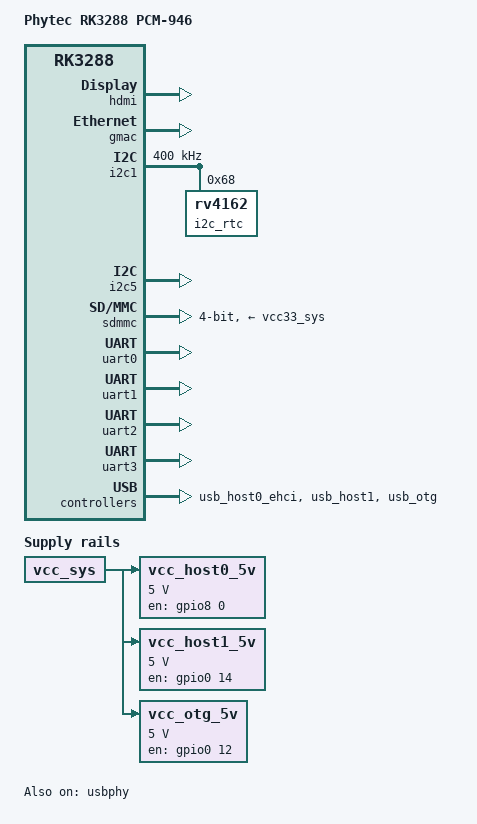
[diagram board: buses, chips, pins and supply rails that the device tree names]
/*
 * Copyright (C) 2016 PHYTEC Messtechnik GmbH
 * Author: Wadim Egorov <w.egorov@phytec.de>
 *
 * This program is free software; you can redistribute it and/or modify
 * it under the terms of the GNU General Public License version 2 as
 * published by the Free Software Foundation.
 */

/dts-v1/;

#include "rk3288-phycore-som.dtsi"

/ {
	model = "Phytec RK3288 PCM-946";
	compatible = "phytec,rk3288-pcm-946", "phytec,rk3288-phycore-som", "rockchip,rk3288";


	regulators {
		compatible = "simple-bus";

		vcc_host0_5v: usb-host0-regulator {
			compatible = "regulator-fixed";
		};

		vcc_host1_5v: usb-host1-regulator {
			compatible = "regulator-fixed";
		};

		vcc_otg_5v: usb-otg-regulator {
			compatible = "regulator-fixed";
		};
	};
};

/* Display & Video */
&hdmi {
	status = "okay";
};

/* Ethernet */
&gmac {
	status = "okay";
};

/* I2C Busses */
&pinctrl {
	rv4162 {
		i2c_rtc_int: i2c-rtc-int {
			rockchip,pins = <5 11 RK_FUNC_GPIO &pcfg_pull_up>;
		};
	};
};

&i2c1 {
	clock-frequency = <400000>;
	status = "okay";

	i2c_rtc: rtc@68 {
		compatible = "rv4162";
		reg = <0x68>;
	};
};

&i2c5 {
	status = "okay";
};

/* Misc */
&pinctrl {
	pinctrl-names = "default";
	pinctrl-0 = <&i2c_rtc_int>;

	rv4162 {
		i2c_rtc_int: i2c-rtc-int {
			rockchip,pins = <5 11 RK_FUNC_GPIO &pcfg_pull_up>;
		};
	};
};

/* MMC */
&pinctrl {
	pcfg_pull_up_drv_12ma: pcfg-pull-up-drv-12ma {
		bias-pull-up;
		drive-strength = <12>;
	};

	sdmmc {
		/*
		* Default drive strength isn't enough to achieve even
		* high-speed mode on pcm-946 board so bump up to 12ma.
		*/
		sdmmc_bus4: sdmmc-bus4 {
			rockchip,pins = <6 16 RK_FUNC_1 &pcfg_pull_up_drv_12ma>,
					<6 17 RK_FUNC_1 &pcfg_pull_up_drv_12ma>,
					<6 18 RK_FUNC_1 &pcfg_pull_up_drv_12ma>,
					<6 19 RK_FUNC_1 &pcfg_pull_up_drv_12ma>;
		};

		sdmmc_clk: sdmmc-clk {
			rockchip,pins = <6 20 RK_FUNC_1 &pcfg_pull_none_12ma>;
		};

		sdmmc_cmd: sdmmc-cmd {
			rockchip,pins = <6 21 RK_FUNC_1 &pcfg_pull_up_drv_12ma>;
		};

		sdmmc_pwr: sdmmc-pwr {
			rockchip,pins = <7 11 RK_FUNC_GPIO &pcfg_pull_none>;
		};
	};
};

&sdmmc {
	bus-width = <4>;
	cap-mmc-highspeed;
	cap-sd-highspeed;
	card-detect-delay = <200>;
	disable-wp;
	num-slots = <1>;
	pinctrl-names = "default";
	pinctrl-0 = <&sdmmc_clk &sdmmc_cmd &sdmmc_cd &sdmmc_bus4>;
	vmmc-supply = <&vcc33_sys>;
	vqmmc-supply = <&vcc33_sys>;
	status = "okay";
};

/* Power */
&vcc_host0_5v {
	enable-active-high;
	gpio = <&gpio8 0 GPIO_ACTIVE_HIGH>;
	pinctrl-names = "default";
	pinctrl-0 = <&host0_vbus_drv>;
	regulator-name = "vcc_host0_5v";
	regulator-min-microvolt = <5000000>;
	regulator-max-microvolt = <5000000>;
	regulator-always-on;
	vin-supply = <&vcc_sys>;

};

&vcc_host1_5v {
	enable-active-high;
	gpio = <&gpio0 14 GPIO_ACTIVE_HIGH>;
	pinctrl-names = "default";
	pinctrl-0 = <&host1_vbus_drv>;
	regulator-name = "vcc_host1_5v";
	regulator-min-microvolt = <5000000>;
	regulator-max-microvolt = <5000000>;
	regulator-always-on;
	vin-supply = <&vcc_sys>;
};

&vcc_otg_5v {
	enable-active-high;
	gpio = <&gpio0 12 GPIO_ACTIVE_HIGH>;
	pinctrl-names = "default";
	pinctrl-0 = <&otg_vbus_drv>;
	regulator-name = "vcc_otg_5v";
	regulator-min-microvolt = <5000000>;
	regulator-max-microvolt = <5000000>;
	regulator-always-on;
	vin-supply = <&vcc_sys>;
};

/* UART */
&uart0 {
	pinctrl-names = "default";
	pinctrl-0 = <&uart0_xfer &uart0_cts &uart0_rts>;
	status = "okay";
};

&uart1 {
	status = "okay";
};

&uart2 {
	status = "okay";
};

&uart3 {
	status = "okay";
};


/* USB */
&pinctrl {
	usb_host {
		host0_vbus_drv: host0-vbus-drv {
			rockchip,pins = <8 0 RK_FUNC_GPIO &pcfg_pull_none>;
		};

		host1_vbus_drv: host1-vbus-drv {
			rockchip,pins = <0 14 RK_FUNC_GPIO &pcfg_pull_none>;
		};
	};

	usb_otg {
		otg_vbus_drv: otg-vbus-drv {
			rockchip,pins = <0 12 RK_FUNC_GPIO &pcfg_pull_none>;
		};
	};
};

&usbphy {
	status = "okay";
};

&usb_host0_ehci {
	status = "okay";
};

&usb_host1 {
	status = "okay";
};

&usb_otg {
	status = "okay";
};
